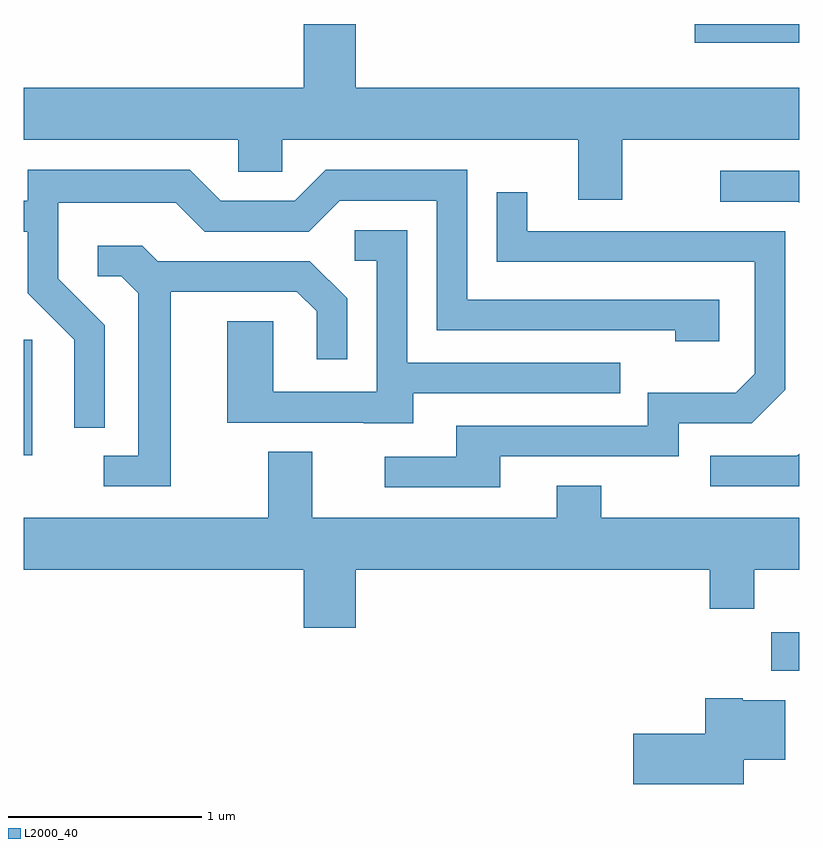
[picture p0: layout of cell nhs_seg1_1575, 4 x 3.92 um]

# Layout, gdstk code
import gdstk
lib = gdstk.Library(unit=1e-6, precision=1e-09)
def R(c, l, rs):  # rectangles x0, y0, x1, y1
    for r in rs: c.add(gdstk.rectangle(r[:2], r[2:], *l))
def P(c, l, *ps):  # polygons
    for p in ps: c.add(gdstk.Polygon(p, *l))
L2000_40 = (2000, 40)

nhs_seg1_1575 = lib.new_cell('nhs_seg1_1575')
R(nhs_seg1_1575, L2000_40, [(237.466,912.376,237.611,912.574), (233.611,913.486,233.654,914.084), (237.073,915.616,237.611,915.712)])
P(nhs_seg1_1575, L2000_40, [(236.699,915.116),(237.611,915.116),(237.611,915.384),(235.324,915.384),(235.324,915.712),(235.056,915.712),(235.056,915.384),(233.611,915.384),(233.611,915.116),(234.716,915.116),(234.716,914.951),(234.944,914.951),(234.944,915.116),(236.471,915.116),(236.471,914.806),(236.699,914.806)],
  [(234.029,914.157),(233.789,914.397),(233.789,914.791),(234.394,914.791),(234.544,914.641),(235.082,914.641),(235.242,914.801),(235.741,914.801),(235.741,914.131),(236.971,914.131),(236.971,914.076),(237.199,914.076),(237.199,914.289),(235.899,914.289),(235.899,914.959),(235.169,914.959),(235.009,914.799),(234.627,914.799),(234.467,914.959),(233.631,914.959),(233.631,914.799),(233.611,914.799),(233.611,914.641),(233.631,914.641),(233.631,914.324),(233.871,914.084),(233.871,913.628),(234.029,913.628)],
  [(237.611,914.954),(237.203,914.954),(237.203,914.796),(237.604,914.796),(237.611,914.789)],
  [(236.069,913.481),(236.989,913.481),(236.989,913.651),(237.367,913.651),(237.539,913.824),(237.539,914.644),(236.209,914.644),(236.209,914.843),(236.051,914.843),(236.051,914.486),(237.381,914.486),(237.381,913.907),(237.284,913.809),(236.831,913.809),(236.831,913.639),(235.841,913.639),(235.841,913.479),(235.473,913.479),(235.473,913.321),(236.069,913.321)],
  [(235.619,913.806),(236.688,913.806),(236.688,913.964),(235.589,913.964),(235.589,914.649),(235.318,914.649),(235.318,914.491),(235.431,914.491),(235.431,913.814),(234.899,913.814),(234.899,914.179),(234.661,914.179),(234.661,913.656),(235.365,913.656),(235.365,913.651),(235.619,913.651)],
  [(234.369,914.331),(235.019,914.331),(235.121,914.229),(235.121,913.983),(235.279,913.983),(235.279,914.297),(235.087,914.489),(234.302,914.489),(234.222,914.569),(233.993,914.569),(233.993,914.411),(234.114,914.411),(234.201,914.324),(234.201,913.484),(234.023,913.484),(234.023,913.326),(234.369,913.326)],
  [(235.324,912.896),(237.151,912.896),(237.151,912.696),(237.379,912.696),(237.379,912.896),(237.611,912.896),(237.611,913.164),(236.589,913.164),(236.589,913.329),(236.361,913.329),(236.361,913.164),(235.099,913.164),(235.099,913.504),(234.871,913.504),(234.871,913.164),(233.611,913.164),(233.611,912.896),(235.056,912.896),(235.056,912.596),(235.324,912.596)],
  [(237.611,913.496),(237.599,913.484),(237.153,913.484),(237.153,913.326),(237.611,913.326)],
  [(237.324,911.916),(237.539,911.916),(237.539,912.224),(237.32,912.224),(237.32,912.234),(237.126,912.234),(237.126,912.049),(236.756,912.049),(236.756,911.791),(237.324,911.791)])

lib.write_gds('nhs_seg1_1575.gds')
